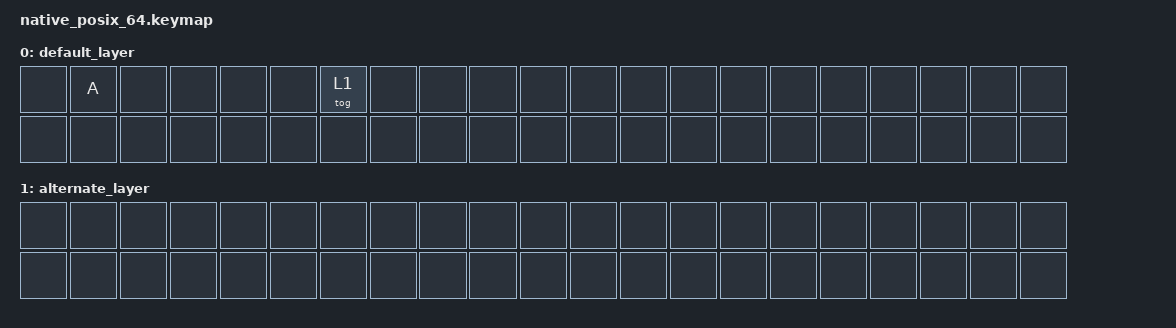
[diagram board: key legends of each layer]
#include <behaviors.dtsi>
#include <dt-bindings/zmk/keys.h>
#include <dt-bindings/zmk/kscan_mock.h>

#define ___ &none

/ {
    keymap {
        compatible = "zmk,keymap";

        default_layer {
            bindings = <
                ___ &kp A ___ ___ ___ ___ &tog 1 ___ ___ ___ ___ ___ ___ ___ ___ ___ ___ ___ ___ ___ ___
                ___ ___ ___ ___ ___ ___ ___ ___ ___ ___ ___ ___ ___ ___ ___ ___ ___ ___ ___ ___ ___
            >;
        };

        alternate_layer {
            bindings = <
                ___ ___ ___ ___ ___ ___ ___ ___ ___ ___ ___ ___ ___ ___ ___ ___ ___ ___ ___ ___ ___
                ___ ___ ___ ___ ___ ___ ___ ___ ___ ___ ___ ___ ___ ___ ___ ___ ___ ___ ___ ___ ___
            >;
        };
    };
};

&kscan {
    rows = <2>;
    columns = <21>;
    events = <
        ZMK_MOCK_PRESS(0, 1, 10)
        ZMK_MOCK_RELEASE(0, 1, 10)
        ZMK_MOCK_PRESS(0, 6, 10)
        ZMK_MOCK_RELEASE(0, 6, 10)
    >;
};
